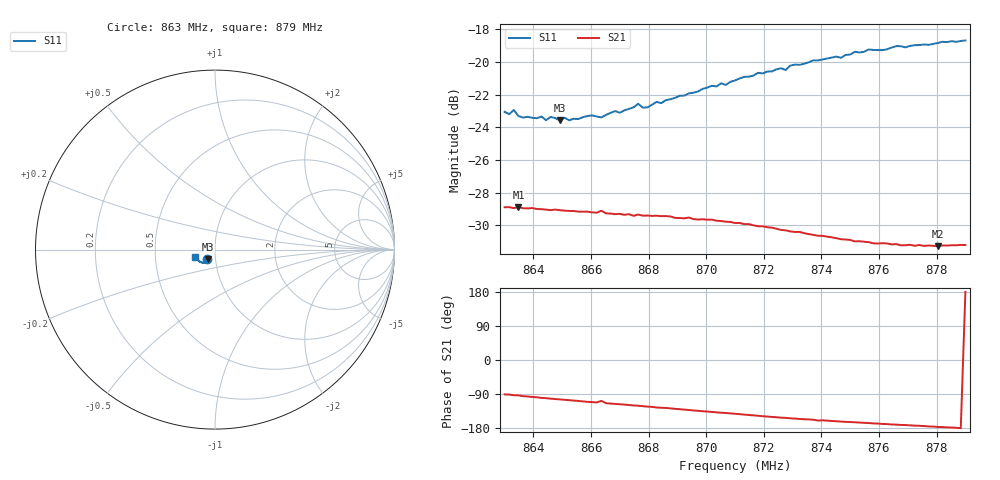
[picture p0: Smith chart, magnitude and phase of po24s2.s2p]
# HZ S RI R 50
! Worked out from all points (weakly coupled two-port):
!   101 points, 863 MHz to 879 MHz, reference 50 ohm
!   highest |S21| = -28.88 dB at 863.48 MHz (marker M1); lowest = -31.3 dB at 878.04 MHz (marker M2)
!   lowest |S11| = -23.6 dB at 864.92 MHz (marker M3), VSWR 1.14, Z = 46.1 - j5.06 ohm
!   |S11| at or under -10 dB: start of sweep to end of sweep
!   S12 and S22 are empty: the file has one direction only
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8.63e8  -0.0453 -0.0539  -0.00041 -0.0359  0 0  0 0
8.6316e8  -0.0436 -0.0537  -0.00085 -0.0359  0 0  0 0
8.6332e8  -0.0453 -0.055  -0.00183 -0.0356  0 0  0 0
8.6348e8  -0.0414 -0.0543  -0.00207 -0.0359  0 0  0 0
8.6428e8  -0.0387 -0.056  -0.00621 -0.0349  0 0  0 0
8.6444e8  -0.0382 -0.0542  -0.0066 -0.0347  0 0  0 0
8.646e8  -0.0389 -0.0556  -0.0073 -0.0344  0 0  0 0
8.6492e8  -0.0375 -0.0546  -0.00848 -0.0341  0 0  0 0
8.6572e8  -0.0351 -0.058  -0.0115 -0.0329  0 0  0 0
8.6636e8  -0.038 -0.056  -0.0108 -0.0333  0 0  0 0
8.6764e8  -0.0373 -0.0645  -0.0174 -0.0293  0 0  0 0
8.678e8  -0.036 -0.0629  -0.0178 -0.0287  0 0  0 0
8.6828e8  -0.0365 -0.066  -0.0195 -0.0276  0 0  0 0
8.6844e8  -0.0363 -0.0654  -0.0199 -0.0272  0 0  0 0
8.71e8  -0.0484 -0.0733  -0.0253 -0.0198  0 0  0 0
8.718e8  -0.0551 -0.0745  -0.0264 -0.017  0 0  0 0
8.7276e8  -0.0585 -0.0742  -0.0271 -0.014  0 0  0 0
8.7292e8  -0.0631 -0.0744  -0.0272 -0.0133  0 0  0 0
8.7372e8  -0.0699 -0.0732  -0.0273 -0.0112  0 0  0 0
8.7644e8  -0.0928 -0.0605  -0.0272 -0.00475  0 0  0 0
8.7804e8  -0.1034 -0.0487  -0.0272 -0.00159  0 0  0 0
8.79e8  -0.1097 -0.0389  -0.0275 0.00016  0 0  0 0
